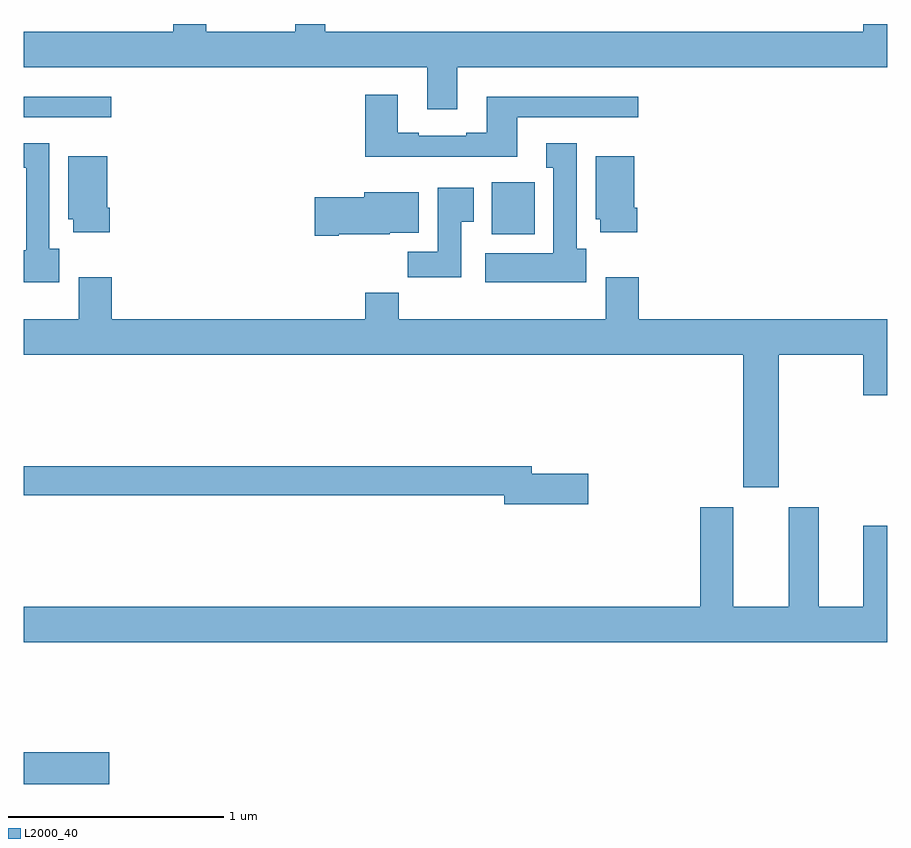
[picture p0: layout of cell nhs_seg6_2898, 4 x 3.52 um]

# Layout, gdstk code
import gdstk
lib = gdstk.Library(unit=1e-6, precision=1e-09)
def R(c, l, rs):  # rectangles x0, y0, x1, y1
    for r in rs: c.add(gdstk.rectangle(r[:2], r[2:], *l))
def P(c, l, *ps):  # polygons
    for p in ps: c.add(gdstk.Polygon(p, *l))
L2000_40 = (2000, 40)

nhs_seg6_2898 = lib.new_cell('nhs_seg6_2898')
R(nhs_seg6_2898, L2000_40, [(281,979.979,281.395,980.126), (283.169,982.526,283.366,982.768), (281,983.067,281.404,983.164)])
P(nhs_seg6_2898, L2000_40, [(282.869,983.106),(283.009,983.106),(283.009,983.3),(285,983.3),(285,983.5),(284.888,983.5),(284.888,983.464),(282.397,983.464),(282.397,983.5),(282.257,983.5),(282.257,983.464),(281.845,983.464),(281.845,983.5),(281.693,983.5),(281.693,983.464),(281,983.464),(281,983.3),(282.869,983.3)],
  [(283.285,983.067),(283.846,983.067),(283.846,983.164),(283.145,983.164),(283.145,982.996),(283.049,982.996),(283.049,982.983),(282.829,982.983),(282.829,982.996),(282.733,982.996),(282.733,983.173),(282.581,983.173),(282.581,982.886),(283.285,982.886)],
  [(281.164,982.458),(281.119,982.458),(281.119,982.948),(281,982.948),(281,982.835),(281.012,982.835),(281.012,982.452),(281,982.452),(281,982.304),(281.164,982.304)],
  [(283.606,982.458),(283.561,982.458),(283.561,982.948),(283.421,982.948),(283.421,982.835),(283.454,982.835),(283.454,982.438),(283.137,982.438),(283.137,982.304),(283.606,982.304)],
  [(283.841,982.648),(283.828,982.648),(283.828,982.888),(283.649,982.888),(283.649,982.596),(283.67,982.596),(283.67,982.536),(283.841,982.536)],
  [(281.399,982.648),(281.386,982.648),(281.386,982.888),(281.207,982.888),(281.207,982.596),(281.228,982.596),(281.228,982.536),(281.399,982.536)],
  [(283.027,982.585),(283.084,982.585),(283.084,982.741),(282.917,982.741),(282.917,982.444),(282.778,982.444),(282.778,982.326),(283.027,982.326)],
  [(282.46,982.526),(282.696,982.526),(282.696,982.532),(282.829,982.532),(282.829,982.72),(282.578,982.72),(282.578,982.697),(282.348,982.697),(282.348,982.519),(282.46,982.519)],
  [(284.497,981.968),(284.888,981.968),(284.888,981.78),(285,981.78),(285,982.132),(283.85,982.132),(283.85,982.327),(283.697,982.327),(283.697,982.132),(282.737,982.132),(282.737,982.256),(282.581,982.256),(282.581,982.132),(281.408,982.132),(281.408,982.327),(281.255,982.327),(281.255,982.132),(281,982.132),(281,981.968),(284.333,981.968),(284.333,981.354),(284.497,981.354)],
  [(283.615,981.416),(283.354,981.416),(283.354,981.452),(281,981.452),(281,981.316),(283.226,981.316),(283.226,981.274),(283.615,981.274)],
  [(285,981.175),(284.888,981.175),(284.888,980.8),(284.683,980.8),(284.683,981.262),(284.543,981.262),(284.543,980.8),(284.287,980.8),(284.287,981.262),(284.135,981.262),(284.135,980.8),(281,980.8),(281,980.636),(285,980.636)])

lib.write_gds('nhs_seg6_2898.gds')
